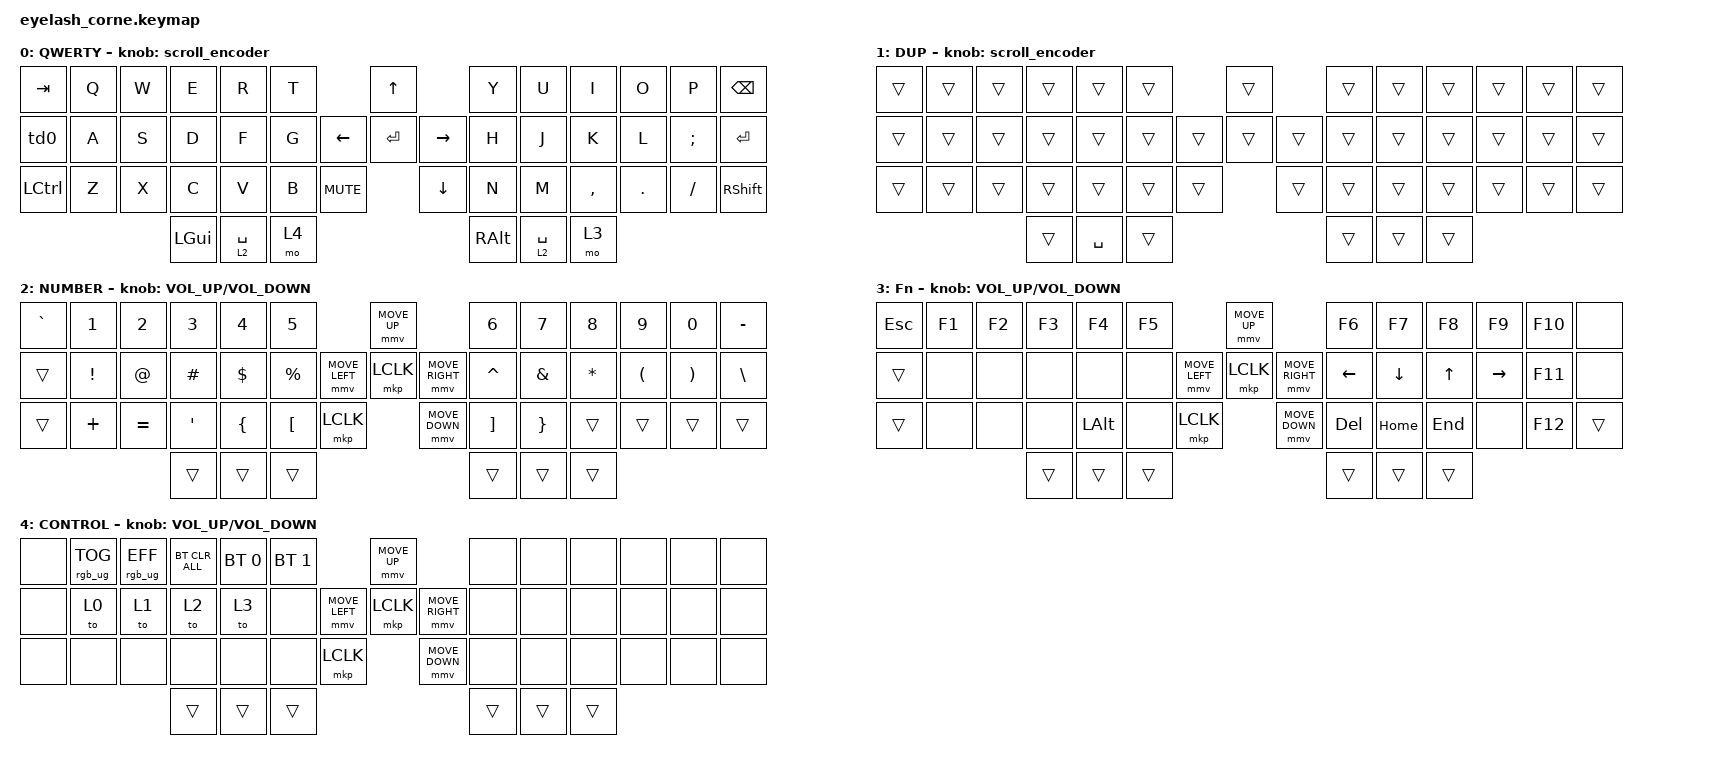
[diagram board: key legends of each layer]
#define ZMK_POINTING_DEFAULT_MOVE_VAL 1200  // 600
#define ZMK_POINTING_DEFAULT_SCRL_VAL 25   // 10

#include <input/processors.dtsi>
#include <zephyr/dt-bindings/input/input-event-codes.h>
#include <behaviors.dtsi>
#include <dt-bindings/zmk/bt.h>
#include <dt-bindings/zmk/keys.h>
#include <dt-bindings/zmk/pointing.h>
#include <dt-bindings/zmk/rgb.h>

&mmv_input_listener { input-processors = <&zip_xy_scaler 2 1>; };

&msc_input_listener { input-processors = <&zip_scroll_scaler 2 1>; };

&msc {
    acceleration-exponent = <1>;      // 0
    time-to-max-speed-ms = <100>;       // 300
    delay-ms = <0>;                   // 0
};

&mmv {
    time-to-max-speed-ms = <500>;
    acceleration-exponent = <1>;
    trigger-period-ms = <16>;
};

/ {
    behaviors {
        td0: td0 {
            compatible = "zmk,behavior-tap-dance";
            display-name = "Shift/Caps Lock Tap Dance";
            #binding-cells = <0>;
            bindings = <&kp LEFT_SHIFT>, <&kp CAPS>;
        };
    };

    rgb_encoder: rgb_encoder {
        compatible = "zmk,behavior-sensor-rotate";
        #sensor-binding-cells = <0>;
        bindings = <&rgb_ug RGB_BRI>, <&rgb_ug RGB_BRD>;
    };

    scroll_encoder: scroll_encoder {
        compatible = "zmk,behavior-sensor-rotate";
        #sensor-binding-cells = <0>;
        bindings = <&msc SCRL_UP>, <&msc SCRL_DOWN>;

        tap-ms = <100>;
    };

    combos {
        compatible = "zmk,combos";

        right_brace {
            bindings = <&kp RIGHT_BRACE>;
            key-positions = <8 9>;
        };

        left_brace {
            bindings = <&kp LEFT_BRACE>;
            key-positions = <3 4>;
        };

        right_parenthesis {
            bindings = <&kp RIGHT_PARENTHESIS>;
            key-positions = <7 8>;
        };

        left_parenthesis {
            bindings = <&kp LEFT_PARENTHESIS>;
            key-positions = <5 4>;
        };

        double_quote {
            bindings = <&kp DOUBLE_QUOTES>;
            key-positions = <25 26>;
        };

        equal {
            bindings = <&kp EQUAL>;
            key-positions = <10 11>;
        };
    };

    keymap {
        compatible = "zmk,keymap";

        default_layer {
            display-name = "QWERTY";
            bindings = <
&kp TAB    &kp Q  &kp W  &kp E     &kp R        &kp T                          &kp UP                &kp Y          &kp U        &kp I      &kp O    &kp P     &kp BSPC
&td0       &kp A  &kp S  &kp D     &kp F        &kp G                &kp LEFT  &kp ENTER  &kp RIGHT  &kp H          &kp J        &kp K      &kp L    &kp SEMI  &kp RET
&kp LCTRL  &kp Z  &kp X  &kp C     &kp V        &kp B  &kp C_MUTE              &kp DOWN              &kp N          &kp M        &kp COMMA  &kp DOT  &kp FSLH  &kp RIGHT_SHIFT
                         &kp LGUI  &lt 2 SPACE  &mo 4                                                &kp RIGHT_ALT  &lt 2 SPACE  &mo 3
            >;

            sensor-bindings = <&scroll_encoder>;
        };

        dup_layer {
            bindings = <
&trans  &trans  &trans  &trans  &trans     &trans                    &trans          &trans  &trans  &trans  &trans  &trans  &trans
&trans  &trans  &trans  &trans  &trans     &trans            &trans  &trans  &trans  &trans  &trans  &trans  &trans  &trans  &trans
&trans  &trans  &trans  &trans  &trans     &trans  &trans            &trans          &trans  &trans  &trans  &trans  &trans  &trans
                        &trans  &kp SPACE  &trans                                    &trans  &trans  &trans
            >;

            label = "DUP";
            sensor-bindings = <&scroll_encoder>;
        };

        number_layer {
            display-name = "NUMBER";
            bindings = <
&kp GRAVE  &kp N1           &kp N2       &kp N3            &kp N4          &kp N5                                         &mmv MOVE_UP                     &kp N6             &kp N7           &kp N8        &kp N9                &kp N0                 &kp MINUS
&trans     &kp EXCLAMATION  &kp AT_SIGN  &kp HASH          &kp DOLLAR      &kp PERCENT                    &mmv MOVE_LEFT  &mkp LCLK       &mmv MOVE_RIGHT  &kp CARET          &kp AMPERSAND    &kp ASTERISK  &kp LEFT_PARENTHESIS  &kp RIGHT_PARENTHESIS  &kp BACKSLASH
&trans     &kp PLUS         &kp EQUAL    &kp SINGLE_QUOTE  &kp LEFT_BRACE  &kp LEFT_BRACKET  &mkp LCLK                    &mmv MOVE_DOWN                   &kp RIGHT_BRACKET  &kp RIGHT_BRACE  &trans        &trans                &trans                 &trans
                                         &trans            &trans          &trans                                                                          &trans             &trans           &trans
            >;

            sensor-bindings = <&inc_dec_kp C_VOLUME_UP C_VOLUME_DOWN>;
        };

        fn_layer {
            display-name = "Fn";
            bindings = <
&kp ESCAPE  &kp F1  &kp F2  &kp F3  &kp F4        &kp F5                               &mmv MOVE_UP                     &kp F6      &kp F7    &kp F8        &kp F9           &kp F10  &none
&trans      &none   &none   &none   &none         &none                &mmv MOVE_LEFT  &mkp LCLK       &mmv MOVE_RIGHT  &kp LEFT    &kp DOWN  &kp UP_ARROW  &kp RIGHT_ARROW  &kp F11  &none
&trans      &none   &none   &none   &kp LEFT_ALT  &none   &mkp LCLK                    &mmv MOVE_DOWN                   &kp DELETE  &kp HOME  &kp END       &none            &kp F12  &trans
                            &trans  &trans        &trans                                                                &trans      &trans    &trans
            >;

            sensor-bindings = <&inc_dec_kp C_VOLUME_UP C_VOLUME_DOWN>;
        };

        control_layer {
            display-name = "CONTROL";
            bindings = <
&none  &rgb_ug RGB_TOG  &rgb_ug RGB_EFF  &bt BT_CLR_ALL  &bt BT_SEL 0  &bt BT_SEL 1                               &mmv MOVE_UP                     &none   &none   &none   &none  &none  &none
&none  &to 0            &to 1            &to 2           &to 3         &none                      &mmv MOVE_LEFT  &mkp LCLK       &mmv MOVE_RIGHT  &none   &none   &none   &none  &none  &none
&none  &none            &none            &none           &none         &none         &mkp LCLK                    &mmv MOVE_DOWN                   &none   &none   &none   &none  &none  &none
                                         &trans          &trans        &trans                                                                      &trans  &trans  &trans
            >;

            sensor-bindings = <&inc_dec_kp C_VOLUME_UP C_VOLUME_DOWN>;
        };
    };
};
